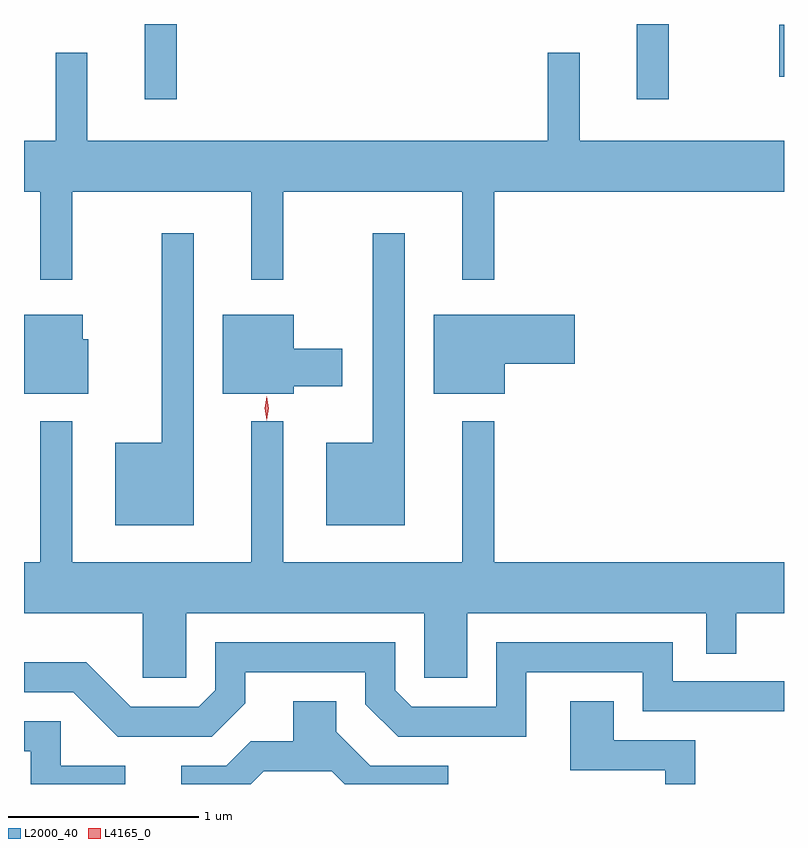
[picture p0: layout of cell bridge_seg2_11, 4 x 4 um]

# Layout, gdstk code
import gdstk
lib = gdstk.Library(unit=1e-6, precision=1e-09)
def R(c, l, rs):  # rectangles x0, y0, x1, y1
    for r in rs: c.add(gdstk.rectangle(r[:2], r[2:], *l))
def P(c, l, *ps):  # polygons
    for p in ps: c.add(gdstk.Polygon(p, *l))
L2000_40 = (2000, 40)
L4165_0 = (4165, 0)

bridge_seg2_11 = lib.new_cell('bridge_seg2_11')
R(bridge_seg2_11, L2000_40, [(1908.201,1019.943,1908.369,1020.338), (1910.791,1019.943,1910.959,1020.338), (1911.541,1020.061,1911.565,1020.334)])
P(bridge_seg2_11, L2000_40, [(1907.819,1019.456),(1908.761,1019.456),(1908.761,1018.993),(1908.929,1018.993),(1908.929,1019.456),(1909.871,1019.456),(1909.871,1018.993),(1910.039,1018.993),(1910.039,1019.456),(1911.565,1019.456),(1911.565,1019.724),(1910.489,1019.724),(1910.489,1020.188),(1910.321,1020.188),(1910.321,1019.724),(1907.899,1019.724),(1907.899,1020.188),(1907.731,1020.188),(1907.731,1019.724),(1907.565,1019.724),(1907.565,1019.456),(1907.651,1019.456),(1907.651,1018.993),(1907.819,1018.993)],
  [(1908.459,1019.238),(1908.291,1019.238),(1908.291,1018.134),(1908.046,1018.134),(1908.046,1017.701),(1908.459,1017.701)],
  [(1909.569,1019.238),(1909.401,1019.238),(1909.401,1018.134),(1909.156,1018.134),(1909.156,1017.701),(1909.569,1017.701)],
  [(1910.094,1018.551),(1910.464,1018.551),(1910.464,1018.809),(1909.721,1018.809),(1909.721,1018.391),(1910.094,1018.391)],
  [(1907.904,1018.679),(1907.874,1018.679),(1907.874,1018.809),(1907.565,1018.809),(1907.565,1018.391),(1907.904,1018.391)],
  [(1908.984,1018.431),(1909.239,1018.431),(1909.239,1018.629),(1908.984,1018.629),(1908.984,1018.809),(1908.611,1018.809),(1908.611,1018.391),(1908.984,1018.391)],
  [(1908.419,1017.236),(1909.671,1017.236),(1909.671,1016.896),(1909.899,1016.896),(1909.899,1017.236),(1911.156,1017.236),(1911.156,1017.023),(1911.314,1017.023),(1911.314,1017.236),(1911.565,1017.236),(1911.565,1017.504),(1910.039,1017.504),(1910.039,1018.248),(1909.871,1018.248),(1909.871,1017.504),(1908.929,1017.504),(1908.929,1018.248),(1908.761,1018.248),(1908.761,1017.504),(1907.819,1017.504),(1907.819,1018.248),(1907.651,1018.248),(1907.651,1017.504),(1907.565,1017.504),(1907.565,1017.236),(1908.191,1017.236),(1908.191,1016.896),(1908.419,1016.896)],
  [(1908.729,1016.764),(1908.729,1016.926),(1909.361,1016.926),(1909.361,1016.759),(1909.534,1016.586),(1910.209,1016.586),(1910.209,1016.926),(1910.821,1016.926),(1910.821,1016.721),(1911.565,1016.721),(1911.565,1016.879),(1910.979,1016.879),(1910.979,1017.084),(1910.051,1017.084),(1910.051,1016.744),(1909.607,1016.744),(1909.519,1016.832),(1909.519,1017.084),(1908.571,1017.084),(1908.571,1016.832),(1908.484,1016.744),(1908.127,1016.744),(1907.892,1016.979),(1907.565,1016.979),(1907.565,1016.821),(1907.824,1016.821),(1908.059,1016.586),(1908.552,1016.586)],
  [(1908.827,1016.406),(1909.184,1016.406),(1909.252,1016.338),(1909.798,1016.338),(1909.798,1016.434),(1909.387,1016.434),(1909.209,1016.612),(1909.209,1016.774),(1908.981,1016.774),(1908.981,1016.564),(1908.759,1016.564),(1908.629,1016.434),(1908.393,1016.434),(1908.393,1016.338),(1908.759,1016.338)],
  [(1911.099,1016.569),(1910.669,1016.569),(1910.669,1016.774),(1910.441,1016.774),(1910.441,1016.411),(1910.941,1016.411),(1910.941,1016.338),(1911.099,1016.338)],
  [(1908.099,1016.434),(1907.759,1016.434),(1907.759,1016.669),(1907.565,1016.669),(1907.565,1016.511),(1907.601,1016.511),(1907.601,1016.338),(1908.099,1016.338)])
P(bridge_seg2_11, L4165_0, [(1908.842,1018.253),(1908.833,1018.316),(1908.842,1018.379),(1908.843,1018.38),(1908.843,1018.379),(1908.853,1018.316),(1908.843,1018.253),(1908.843,1018.253)])

lib.write_gds('bridge_seg2_11.gds')
